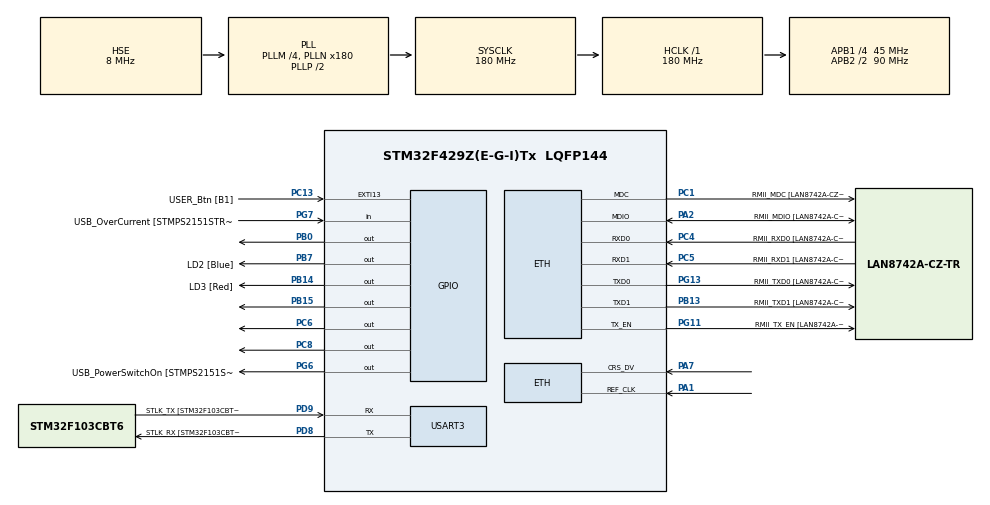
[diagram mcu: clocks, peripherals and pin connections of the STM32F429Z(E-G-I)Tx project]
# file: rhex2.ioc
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ETH.MediaInterface=ETH_MEDIA_INTERFACE_RMII
ETH.PhyAddress=0
FREERTOS.Tasks01=defaultTask,0,128,StartDefaultTask,Default,NULL
LWIP.IP_ADDRESS=192.168.001.020
LWIP.LWIP_DHCP=0
LWIP.NETMASK_ADDRESS=255.255.255.000
LWIP.Version=v2.0.0_Cube
Mcu.Family=STM32F4
Mcu.Name=STM32F429Z(E-G-I)Tx
Mcu.Package=LQFP144
NVIC.ETH_IRQn=true\:5\:0\:false\:false\:true\:true
NVIC.PriorityGroup=NVIC_PRIORITYGROUP_4
NVIC.TIM1_UP_TIM10_IRQn=true\:0\:0\:false\:false\:true\:false
NVIC.TimeBase=TIM1_UP_TIM10_IRQn
NVIC.TimeBaseIP=TIM1
PA1.Mode=RMII
PA1.Signal=ETH_REF_CLK
PA10.GPIO_Label=USB_ID
PA10.Signal=USB_OTG_FS_ID
PA11.GPIO_Label=USB_DM
PA11.Signal=USB_OTG_FS_DM
PA12.GPIO_Label=USB_DP
PA12.Signal=USB_OTG_FS_DP
PA13.GPIO_Label=TMS
PA13.Mode=Serial_Wire
PA13.Signal=SYS_JTMS-SWDIO
PA14.GPIO_Label=TCK
PA14.Mode=Serial_Wire
PA14.Signal=SYS_JTCK-SWCLK
PA2.GPIO_Label=RMII_MDIO [LAN8742A-CZ-TR_MDIO]
PA2.Mode=RMII
PA2.Signal=ETH_MDIO
PA7.Mode=RMII
PA7.Signal=ETH_CRS_DV
PA8.GPIO_Label=USB_SOF [TP1]
PA8.Signal=USB_OTG_FS_SOF
PA9.GPIO_Label=USB_VBUS
PA9.Signal=USB_OTG_FS_VBUS
PB0.Signal=GPIO_Output
PB13.GPIO_Label=RMII_TXD1 [LAN8742A-CZ-TR_TXD1]
PB13.Mode=RMII
PB13.Signal=ETH_TXD1
PB14.GPIO_Label=LD3 [Red]
PB14.Signal=GPIO_Output
PB15.Signal=GPIO_Output
PB7.GPIO_Label=LD2 [Blue]
PB7.Signal=GPIO_Output
PC1.GPIO_Label=RMII_MDC [LAN8742A-CZ-TR_MDC]
PC1.Mode=RMII
PC1.Signal=ETH_MDC
PC13.GPIO_Label=USER_Btn [B1]
PC13.Signal=GPXTI13
PC14/OSC32_IN.Mode=LSE-External-Oscillator
PC14/OSC32_IN.Signal=RCC_OSC32_IN
PC15/OSC32_OUT.Mode=LSE-External-Oscillator
PC15/OSC32_OUT.Signal=RCC_OSC32_OUT
PC4.GPIO_Label=RMII_RXD0 [LAN8742A-CZ-TR_RXD0]
PC4.Mode=RMII
PC4.Signal=ETH_RXD0
PC5.GPIO_Label=RMII_RXD1 [LAN8742A-CZ-TR_RXD1]
PC5.Mode=RMII
PC5.Signal=ETH_RXD1
PC6.Signal=GPIO_Output
PC8.Signal=GPIO_Output
PD8.GPIO_Label=STLK_RX [STM32F103CBT6_PA3]
PD8.Mode=Asynchronous
PD8.Signal=USART3_TX
PD9.GPIO_Label=STLK_TX [STM32F103CBT6_PA2]
PD9.Mode=Asynchronous
PD9.Signal=USART3_RX
PG11.GPIO_Label=RMII_TX_EN [LAN8742A-CZ-TR_TXEN]
PG11.Mode=RMII
PG11.Signal=ETH_TX_EN
PG13.GPIO_Label=RMII_TXD0 [LAN8742A-CZ-TR_TXD0]
PG13.Mode=RMII
PG13.Signal=ETH_TXD0
PG6.GPIO_Label=USB_PowerSwitchOn [STMPS2151STR_EN]
PG6.Signal=GPIO_Output
PG7.GPIO_Label=USB_OverCurrent [STMPS2151STR_FAULT]
PG7.Signal=GPIO_Input
PH0/OSC_IN.GPIO_Label=MCO [STM32F103CBT6_PA8]
PH0/OSC_IN.Mode=HSE-External-Clock-Source
PH0/OSC_IN.Signal=RCC_OSC_IN
PH1/OSC_OUT.Mode=HSE-External-Clock-Source
PH1/OSC_OUT.Signal=RCC_OSC_OUT
ProjectManager.HeapSize=0x200
ProjectManager.StackSize=0x400
ProjectManager.TargetToolchain=SW4STM32
RCC.48MHZClocksFreq_Value=90000000
RCC.AHBFreq_Value=180000000
RCC.APB1CLKDivider=RCC_HCLK_DIV4
RCC.APB1Freq_Value=45000000
RCC.APB1TimFreq_Value=90000000
RCC.APB2CLKDivider=RCC_HCLK_DIV2
RCC.APB2Freq_Value=90000000
RCC.APB2TimFreq_Value=180000000
RCC.CortexFreq_Value=180000000
RCC.HCLKFreq_Value=180000000
RCC.HSE_VALUE=8000000
RCC.HSI_VALUE=16000000
RCC.PLLM=4
RCC.PLLMUL=RCC_PLL_MUL9
RCC.PLLN=180
RCC.PLLSourceVirtual=RCC_PLLSOURCE_HSE
RCC.PRESCALERUSB=RCC_USBCLKSOURCE_PLL_DIV1_5
RCC.SYSCLKFreq_VALUE=180000000
RCC.SYSCLKSource=RCC_SYSCLKSOURCE_PLLCLK
RCC.SYSCLKSourceVirtual=RCC_SYSCLKSOURCE_PLLCLK
RCC.USBFreq_Value=48000000
RCC.VCOOutputFreq_Value=360000000
USART3.VirtualMode=VM_ASYNC
VP_FREERTOS_VS_ENABLE.Mode=Enabled
VP_LWIP_VS_Enabled.Mode=Enabled
VP_SYS_VS_tim1.Mode=TIM1
board=NUCLEO-F429ZI

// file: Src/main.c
/**
  ******************************************************************************
  * File Name          : main.c
  * Description        : Main program body
  ******************************************************************************
  * This notice applies to any and all portions of this file
  * that are not between comment pairs USER CODE BEGIN and
  * USER CODE END. Other portions of this file, whether
  * inserted by the user or by software development tools
  * are owned by their respective copyright owners.
  *
  * Copyright (c) 2017 STMicroelectronics International N.V.
  * All rights reserved.
  *
  * Redistribution and use in source and binary forms, with or without
  * modification, are permitted, provided that the following conditions are met:
  *
  * 1. Redistribution of source code must retain the above copyright notice,
  *    this list of conditions and the following disclaimer.
  * 2. Redistributions in binary form must reproduce the above copyright notice,
  *    this list of conditions and the following disclaimer in the documentation
  *    and/or other materials provided with the distribution.
  * 3. Neither the name of STMicroelectronics nor the names of other
  *    contributors to this software may be used to endorse or promote products
  *    derived from this software without specific written permission.
  * 4. This software, including modifications and/or derivative works of this
  *    software, must execute solely and exclusively on microcontroller or
  *    microprocessor devices manufactured by or for STMicroelectronics.
  * 5. Redistribution and use of this software other than as permitted under
  *    this license is void and will automatically terminate your rights under
  *    this license.
  *
  * THIS SOFTWARE IS PROVIDED BY STMICROELECTRONICS AND CONTRIBUTORS "AS IS"
  * AND ANY EXPRESS, IMPLIED OR STATUTORY WARRANTIES, INCLUDING, BUT NOT
  * LIMITED TO, THE IMPLIED WARRANTIES OF MERCHANTABILITY, FITNESS FOR A
  * PARTICULAR PURPOSE AND NON-INFRINGEMENT OF THIRD PARTY INTELLECTUAL PROPERTY
  * RIGHTS ARE DISCLAIMED TO THE FULLEST EXTENT PERMITTED BY LAW. IN NO EVENT
  * SHALL STMICROELECTRONICS OR CONTRIBUTORS BE LIABLE FOR ANY DIRECT, INDIRECT,
  * INCIDENTAL, SPECIAL, EXEMPLARY, OR CONSEQUENTIAL DAMAGES (INCLUDING, BUT NOT
  * LIMITED TO, PROCUREMENT OF SUBSTITUTE GOODS OR SERVICES; LOSS OF USE, DATA,
  * OR PROFITS; OR BUSINESS INTERRUPTION) HOWEVER CAUSED AND ON ANY THEORY OF
  * LIABILITY, WHETHER IN CONTRACT, STRICT LIABILITY, OR TORT (INCLUDING
  * NEGLIGENCE OR OTHERWISE) ARISING IN ANY WAY OUT OF THE USE OF THIS SOFTWARE,
  * EVEN IF ADVISED OF THE POSSIBILITY OF SUCH DAMAGE.
  *
  ******************************************************************************
  */
#include "main.h"
#include "freertos.h"
#include "stm32f4xx_hal.h"
#include "cmsis_os.h"
#include "lwip.h"

/* USER CODE BEGIN Includes */
#include "api.h"
#include "encoder_fct.h"
#include "can_fct.h"
#include "delay.h"
#include "bsp.h"
#include "math.h"
#include "PWM.h"
#include "speed.h"
#include "Sampler.h"

/* USER CODE END Includes */

UART_HandleTypeDef huart3;

osThreadId defaultTaskHandle;

/* USER CODE BEGIN PV */
/* Private variables ---------------------------------------------------------*/
float q0 = 0;
float q1 = 0;
float q2 = 0;
float q3 = 0;

uint8_t pb_state;

uint8_t sample_interrupt = 0;
uint8_t PB_interrupt = 0;
uint8_t com_pc = 0;
uint8_t printed = 1;

float consigne[4] = {30.0, -30.0, 30.0, 30.0}; // Moteur : 1, 2, 3, 4

int i = 0;
/* USER CODE END PV */

void SystemClock_Config(void);
static void MX_GPIO_Init(void);
static void MX_USART3_UART_Init(void);
void StartDefaultTask(void const * argument);

/* USER CODE BEGIN PFP */
/* Private function prototypes -----------------------------------------------*/

//void udpecho_init(void);
//void udp_serv1_task(void*pvParameters);
void read_angles_task(void*pvParameters);
/* USER CODE END PFP */

int main(void)
{

  /* MCU Configuration----------------------------------------------------------*/

  /* Reset of all peripherals, Initializes the Flash interface and the Systick. */
  HAL_Init();

  /* Configure the system clock */
  SystemClock_Config();

  /* Initialize all configured peripherals */
  MX_GPIO_Init();
  MX_USART3_UART_Init();

  // Init fct delay_ms
  SysTick_Init();

  /* USER CODE BEGIN 2 */
  CAN_Config(BaudRate_1000kb, BaudRate_1000kb); // CAN1 and CAN2 set to 1000kb
  my_printf("\n\rCan ok\n");
////////////////////////////////////////////////////////////////

	///////////////////////////////////////////////////////////////////////////////////////////////

  BSP_LED_On(1); // test
 my_printf("\n BSP ok\n");

  mode_Pre_Operationnel(CAN1, 0x3F); // Encoder 3F on CAN1 enter in pre-operational mode
  mode_Pre_Operationnel(CAN1, 0x3E); // Idem for 3E, CAN1
  mode_Pre_Operationnel(CAN2, 0x3F); // Idem for 3F, CAN2
  mode_Pre_Operationnel(CAN2, 0x3E); // Idem for 3E, CAN2

  my_printf("\n\rCan pre op1\n");
	    // reset_4Positions(); //If uncommented, current position is set as ZERO for all encoders. The new ZERO is memorized even after power off

  BSP_LED_On(2); // test

  mode_Operationnel(CAN2, 0x3F); // Encoder 3F on CAN2 enter in operational mode
  mode_Operationnel(CAN2, 0x3E); // Idem for 3E, CAN2
  mode_Operationnel(CAN1, 0x3F); // Idem for 3F, CAN1
  mode_Operationnel(CAN1, 0x3E); // Idem for 3E, CAN1
  my_printf("\n\rCan op2\n");

  BSP_LED_Off(0); // test

	    //Motor1234_PWM_Init(); // PWM Init

  BSP_LED_Off(1); // test
	// BSP_LED_On(1);
	// BSP_LED_On(2);
	 //BSP_LED_On(3);
	 //HAL_GPIO_TogglePin(GPIOB,GPIO_PIN_7);
  /* USER CODE END 2 */

  /* Create the thread(s) */
  /* definition and creation of defaultTask */
  osThreadDef(defaultTask, StartDefaultTask, osPriorityNormal, 0, 128);
  defaultTaskHandle = osThreadCreate(osThread(defaultTask), NULL);

  /* USER CODE BEGIN RTOS_THREADS */
  /* add threads, ... */

  //pointeur vers la tache
  //nom de la tache
  //dimension de la pile pour la tache
  //parametre de la tache
  //priorite de la tache
  //handle pour la tache ?
  //xTaskCreate(udp_serv1_task,"T1",128,NULL,1,NULL);
  xTaskCreate(read_angles_task,"T2",128,NULL,2,NULL);
  /* USER CODE END RTOS_THREADS */

  /* Start scheduler */
  osKernelStart();

  /* We should never get here as control is now taken by the scheduler */

  /* Infinite loop */
  while (1)
  {

  }

}

/** System Clock Configuration
*/
void SystemClock_Config(void)
{

  RCC_OscInitTypeDef RCC_OscInitStruct;
  RCC_ClkInitTypeDef RCC_ClkInitStruct;

    /**Configure the main internal regulator output voltage
    */
  __HAL_RCC_PWR_CLK_ENABLE();

  __HAL_PWR_VOLTAGESCALING_CONFIG(PWR_REGULATOR_VOLTAGE_SCALE1);

    /**Initializes the CPU, AHB and APB busses clocks
    */
  RCC_OscInitStruct.OscillatorType = RCC_OSCILLATORTYPE_HSE;
  RCC_OscInitStruct.HSEState = RCC_HSE_BYPASS;
  RCC_OscInitStruct.PLL.PLLState = RCC_PLL_ON;
  RCC_OscInitStruct.PLL.PLLSource = RCC_PLLSOURCE_HSE;
  RCC_OscInitStruct.PLL.PLLM = 4;
  RCC_OscInitStruct.PLL.PLLN = 180;
  RCC_OscInitStruct.PLL.PLLP = RCC_PLLP_DIV2;
  RCC_OscInitStruct.PLL.PLLQ = 4;
  if (HAL_RCC_OscConfig(&RCC_OscInitStruct) != HAL_OK)
  {
    _Error_Handler(__FILE__, __LINE__);
  }

    /**Activate the Over-Drive mode
    */
  if (HAL_PWREx_EnableOverDrive() != HAL_OK)
  {
    _Error_Handler(__FILE__, __LINE__);
  }

    /**Initializes the CPU, AHB and APB busses clocks
    */
  RCC_ClkInitStruct.ClockType = RCC_CLOCKTYPE_HCLK|RCC_CLOCKTYPE_SYSCLK
                              |RCC_CLOCKTYPE_PCLK1|RCC_CLOCKTYPE_PCLK2;
  RCC_ClkInitStruct.SYSCLKSource = RCC_SYSCLKSOURCE_PLLCLK;
  RCC_ClkInitStruct.AHBCLKDivider = RCC_SYSCLK_DIV1;
  RCC_ClkInitStruct.APB1CLKDivider = RCC_HCLK_DIV4;
  RCC_ClkInitStruct.APB2CLKDivider = RCC_HCLK_DIV2;

  if (HAL_RCC_ClockConfig(&RCC_ClkInitStruct, FLASH_LATENCY_5) != HAL_OK)
  {
    _Error_Handler(__FILE__, __LINE__);
  }

    /**Configure the Systick interrupt time
    */
  HAL_SYSTICK_Config(HAL_RCC_GetHCLKFreq()/1000);

    /**Configure the Systick
    */
  HAL_SYSTICK_CLKSourceConfig(SYSTICK_CLKSOURCE_HCLK);

  /* SysTick_IRQn interrupt configuration */
  HAL_NVIC_SetPriority(SysTick_IRQn, 15, 0);
}

/* USART3 init function */
static void MX_USART3_UART_Init(void)
{

  huart3.Instance = USART3;
  huart3.Init.BaudRate = 115200;
  huart3.Init.WordLength = UART_WORDLENGTH_8B;
  huart3.Init.StopBits = UART_STOPBITS_1;
  huart3.Init.Parity = UART_PARITY_NONE;
  huart3.Init.Mode = UART_MODE_TX_RX;
  huart3.Init.HwFlowCtl = UART_HWCONTROL_NONE;
  huart3.Init.OverSampling = UART_OVERSAMPLING_16;
  if (HAL_UART_Init(&huart3) != HAL_OK)
  {
    _Error_Handler(__FILE__, __LINE__);
  }

}

/** Configure pins as
        * Analog
        * Input
        * Output
        * EVENT_OUT
        * EXTI
     PA8   ------> USB_OTG_FS_SOF
     PA9   ------> USB_OTG_FS_VBUS
     PA10   ------> USB_OTG_FS_ID
     PA11   ------> USB_OTG_FS_DM
     PA12   ------> USB_OTG_FS_DP
*/
static void MX_GPIO_Init(void)
{

  GPIO_InitTypeDef GPIO_InitStruct;

  /* GPIO Ports Clock Enable */
  __HAL_RCC_GPIOC_CLK_ENABLE();
  __HAL_RCC_GPIOH_CLK_ENABLE();
  __HAL_RCC_GPIOA_CLK_ENABLE();
  __HAL_RCC_GPIOB_CLK_ENABLE();
  __HAL_RCC_GPIOD_CLK_ENABLE();
  __HAL_RCC_GPIOG_CLK_ENABLE();

  /*Configure GPIO pin Output Level */
  HAL_GPIO_WritePin(GPIOB, GPIO_PIN_0|LD3_Pin|GPIO_PIN_15|LD2_Pin, GPIO_PIN_RESET);

  /*Configure GPIO pin Output Level */
  HAL_GPIO_WritePin(USB_PowerSwitchOn_GPIO_Port, USB_PowerSwitchOn_Pin, GPIO_PIN_RESET);

  /*Configure GPIO pin Output Level */
  HAL_GPIO_WritePin(GPIOC, GPIO_PIN_6|GPIO_PIN_8, GPIO_PIN_RESET);

  /*Configure GPIO pin : USER_Btn_Pin */
  GPIO_InitStruct.Pin = USER_Btn_Pin;
  GPIO_InitStruct.Mode = GPIO_MODE_IT_RISING;
  GPIO_InitStruct.Pull = GPIO_NOPULL;
  HAL_GPIO_Init(USER_Btn_GPIO_Port, &GPIO_InitStruct);

  /*Configure GPIO pins : PB0 LD3_Pin PB15 LD2_Pin */
  GPIO_InitStruct.Pin = GPIO_PIN_0|LD3_Pin|GPIO_PIN_15|LD2_Pin;
  GPIO_InitStruct.Mode = GPIO_MODE_OUTPUT_PP;
  GPIO_InitStruct.Pull = GPIO_NOPULL;
  GPIO_InitStruct.Speed = GPIO_SPEED_FREQ_LOW;
  HAL_GPIO_Init(GPIOB, &GPIO_InitStruct);

  /*Configure GPIO pin : USB_PowerSwitchOn_Pin */
  GPIO_InitStruct.Pin = USB_PowerSwitchOn_Pin;
  GPIO_InitStruct.Mode = GPIO_MODE_OUTPUT_PP;
  GPIO_InitStruct.Pull = GPIO_NOPULL;
  GPIO_InitStruct.Speed = GPIO_SPEED_FREQ_LOW;
  HAL_GPIO_Init(USB_PowerSwitchOn_GPIO_Port, &GPIO_InitStruct);

  /*Configure GPIO pin : USB_OverCurrent_Pin */
  GPIO_InitStruct.Pin = USB_OverCurrent_Pin;
  GPIO_InitStruct.Mode = GPIO_MODE_INPUT;
  GPIO_InitStruct.Pull = GPIO_NOPULL;
  HAL_GPIO_Init(USB_OverCurrent_GPIO_Port, &GPIO_InitStruct);

  /*Configure GPIO pins : PC6 PC8 */
  GPIO_InitStruct.Pin = GPIO_PIN_6|GPIO_PIN_8;
  GPIO_InitStruct.Mode = GPIO_MODE_OUTPUT_PP;
  GPIO_InitStruct.Pull = GPIO_NOPULL;
  GPIO_InitStruct.Speed = GPIO_SPEED_FREQ_LOW;
  HAL_GPIO_Init(GPIOC, &GPIO_InitStruct);

  /*Configure GPIO pins : USB_SOF_Pin USB_ID_Pin USB_DM_Pin USB_DP_Pin */
  GPIO_InitStruct.Pin = USB_SOF_Pin|USB_ID_Pin|USB_DM_Pin|USB_DP_Pin;
  GPIO_InitStruct.Mode = GPIO_MODE_AF_PP;
  GPIO_InitStruct.Pull = GPIO_NOPULL;
  GPIO_InitStruct.Speed = GPIO_SPEED_FREQ_VERY_HIGH;
  GPIO_InitStruct.Alternate = GPIO_AF10_OTG_FS;
  HAL_GPIO_Init(GPIOA, &GPIO_InitStruct);

  /*Configure GPIO pin : USB_VBUS_Pin */
  GPIO_InitStruct.Pin = USB_VBUS_Pin;
  GPIO_InitStruct.Mode = GPIO_MODE_INPUT;
  GPIO_InitStruct.Pull = GPIO_NOPULL;
  HAL_GPIO_Init(USB_VBUS_GPIO_Port, &GPIO_InitStruct);

}

/* StartDefaultTask function */
void StartDefaultTask(void const * argument)
{
  /* init code for LWIP */
  MX_LWIP_Init();

  /* USER CODE BEGIN 5 */
  //udpecho_init();
  /* Infinite loop */
  for(;;)
  {
    osDelay(1);
  }
  /* USER CODE END 5 */
}

void HAL_TIM_PeriodElapsedCallback(TIM_HandleTypeDef *htim)
{
  if (htim->Instance == TIM1) {
    HAL_IncTick();
  }
}

void _Error_Handler(char * file, int line)
{
  while(1)
  {
  }
}

/************************ (C) COPYRIGHT STMicroelectronics *****END OF FILE****/
